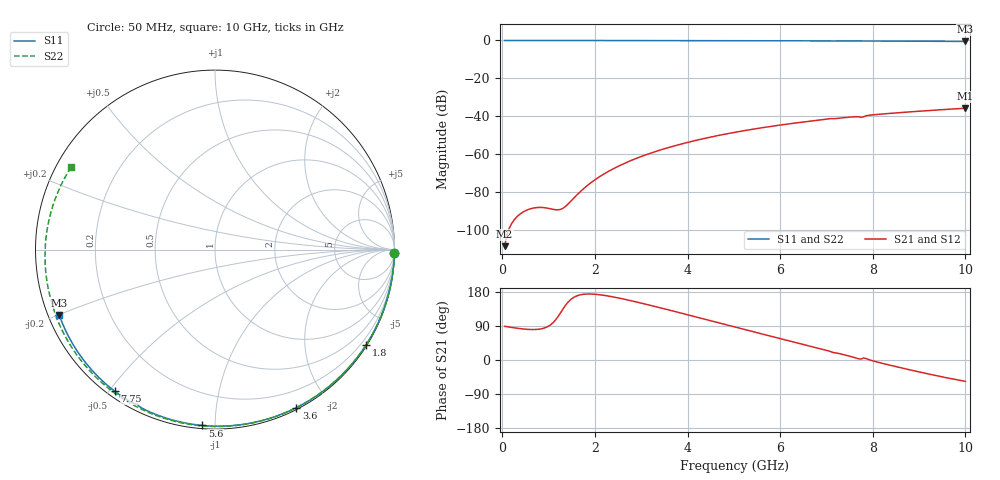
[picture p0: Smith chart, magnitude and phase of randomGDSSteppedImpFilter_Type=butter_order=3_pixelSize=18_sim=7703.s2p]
! freq	dB(S11)	phase(S11)	dB(S12)	phase(S12)
!  dB(S21)	phase(S21)	dB(S22)	phase(S22)
!S-par simulation data
#  GHz  S  DB  R 50
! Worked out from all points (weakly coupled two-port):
!   200 points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, 50 MHz to 10 GHz, reference 50 ohm
!   highest |S21| = -35.84 dB at 10 GHz (marker M1); lowest = -108.8 dB at 50 MHz (marker M2)
!   lowest |S11| = -0.5 dB at 10 GHz (marker M3), VSWR 32.99, Z = 1.58 - j10.1 ohm
!   |S11| at or under -10 dB: nowhere
!   |S22| runs from -0.7 to 0.0 dB; largest |S21 - S12| = 0
!   S11 on the Smith chart (normalised r, x): 50 MHz: open; 1.8 GHz: 0.03, -3.46; 3.6 GHz: 0.02, -1.64; 5.6 GHz: 0.02, -0.93; 7.75 GHz: 0.02, -0.52; 10 GHz: 0.03, -0.20
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0.05  -0.00 -0.9  -108.81 88.8  -108.81 88.8  -0.00 -1.2
0.85  -0.02 -15.4  -88.33 82.5  -88.33 82.5  -0.02 -19.5
1.65  -0.04 -29.6  -80.78 170.9  -80.78 170.9  -0.05 -37.5
1.7  -0.04 -30.5  -79.62 172.4  -79.62 172.4  -0.05 -38.6
1.75  -0.04 -31.4  -78.51 173.4  -78.51 173.4  -0.05 -39.7
1.8  -0.04 -32.3  -77.46 173.9  -77.46 173.9  -0.05 -40.8
2.1  -0.05 -37.5  -72.06 172.3  -72.06 172.3  -0.06 -47.4
2.45  -0.06 -43.5  -67.20 165.1  -67.20 165.1  -0.07 -55.0
2.9  -0.07 -51.2  -62.32 153.0  -62.32 153.0  -0.08 -64.6
3.4  -0.08 -59.5  -58.04 138.1  -58.04 138.1  -0.10 -75.0
3.6  -0.08 -62.8  -56.56 131.9  -56.56 131.9  -0.11 -79.1
4.3  -0.11 -74.1  -52.18 109.9  -52.18 109.9  -0.13 -93.2
5.05  -0.13 -85.8  -48.46 86.2  -48.46 86.2  -0.17 -107.8
5.6  -0.16 -94.2  -46.20 68.9  -46.20 68.9  -0.20 -118.4
6.7  -0.22 -110.4  -42.54 34.9  -42.54 34.9  -0.27 -139.4
7.55  -0.28 -122.4  -40.45 8.4  -40.45 8.4  -0.34 -156.0
7.75  -0.29 -125.3  -40.67 2.6  -40.67 2.6  -0.38 -160.0
7.9  -0.30 -127.4  -39.62 1.5  -39.62 1.5  -0.39 -162.8
8.35  -0.34 -133.8  -38.62 -13.1  -38.62 -13.1  -0.43 -172.0
9.2  -0.43 -145.8  -37.09 -36.8  -37.09 -36.8  -0.54 169.5
9.6  -0.48 -151.5  -36.45 -47.0  -36.45 -47.0  -0.61 160.1
10  -0.53 -157.2  -35.84 -56.3  -35.84 -56.3  -0.69 150.0
